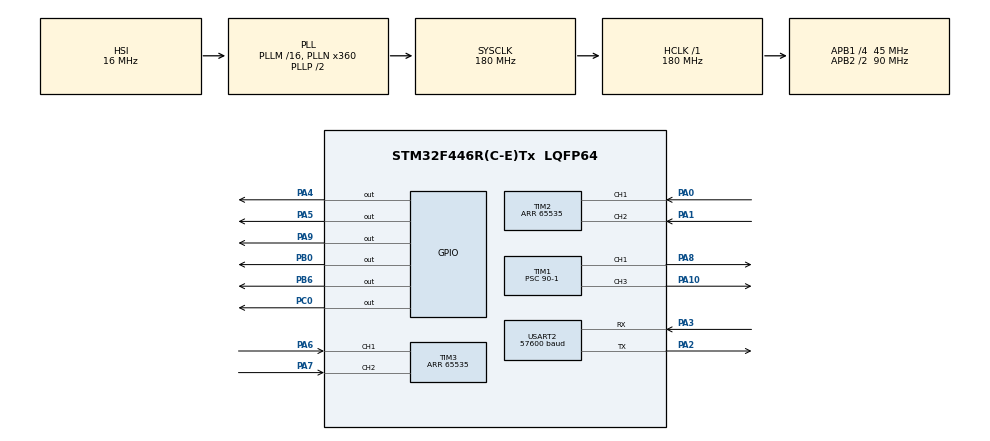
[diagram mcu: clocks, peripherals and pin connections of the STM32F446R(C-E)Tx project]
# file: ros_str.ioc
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Dma.Request0=USART2_RX
Dma.Request1=USART2_TX
Dma.USART2_RX.0.Direction=DMA_PERIPH_TO_MEMORY
Dma.USART2_RX.0.FIFOMode=DMA_FIFOMODE_DISABLE
Dma.USART2_RX.0.Instance=DMA1_Stream5
Dma.USART2_RX.0.MemDataAlignment=DMA_MDATAALIGN_BYTE
Dma.USART2_RX.0.MemInc=DMA_MINC_ENABLE
Dma.USART2_RX.0.Mode=DMA_CIRCULAR
Dma.USART2_RX.0.PeriphDataAlignment=DMA_PDATAALIGN_BYTE
Dma.USART2_RX.0.PeriphInc=DMA_PINC_DISABLE
Dma.USART2_RX.0.Priority=DMA_PRIORITY_HIGH
Dma.USART2_TX.1.Direction=DMA_MEMORY_TO_PERIPH
Dma.USART2_TX.1.FIFOMode=DMA_FIFOMODE_DISABLE
Dma.USART2_TX.1.Instance=DMA1_Stream6
Dma.USART2_TX.1.MemDataAlignment=DMA_MDATAALIGN_BYTE
Dma.USART2_TX.1.MemInc=DMA_MINC_ENABLE
Dma.USART2_TX.1.Mode=DMA_NORMAL
Dma.USART2_TX.1.PeriphDataAlignment=DMA_PDATAALIGN_BYTE
Dma.USART2_TX.1.PeriphInc=DMA_PINC_DISABLE
Dma.USART2_TX.1.Priority=DMA_PRIORITY_HIGH
Mcu.Family=STM32F4
Mcu.Name=STM32F446R(C-E)Tx
Mcu.Package=LQFP64
NVIC.DMA1_Stream5_IRQn=true\:0\:0\:false\:false\:true\:false\:true
NVIC.DMA1_Stream6_IRQn=true\:0\:0\:false\:false\:true\:false\:true
NVIC.PriorityGroup=NVIC_PRIORITYGROUP_4
NVIC.TIM2_IRQn=true\:0\:0\:false\:false\:true\:true\:true
NVIC.TIM3_IRQn=true\:0\:0\:false\:false\:true\:true\:true
NVIC.TIM4_IRQn=true\:0\:0\:false\:false\:true\:true\:true
NVIC.TIM5_IRQn=true\:0\:0\:false\:false\:true\:true\:true
NVIC.USART2_IRQn=true\:0\:0\:false\:false\:true\:true\:true
PA0-WKUP.Signal=S_TIM2_CH1_ETR
PA1.Signal=S_TIM2_CH2
PA10.Signal=S_TIM1_CH3
PA2.Mode=Asynchronous
PA2.Signal=USART2_TX
PA3.Mode=Asynchronous
PA3.Signal=USART2_RX
PA4.Signal=GPIO_Output
PA5.Signal=GPIO_Output
PA6.Signal=S_TIM3_CH1
PA7.Signal=S_TIM3_CH2
PA8.Signal=S_TIM1_CH1
PA9.Signal=GPIO_Output
PB0.Signal=GPIO_Output
PB6.Signal=GPIO_Output
PC0.Signal=GPIO_Output
ProjectManager.HeapSize=0x200
ProjectManager.StackSize=0x400
ProjectManager.TargetToolchain=STM32CubeIDE
RCC.AHBFreq_Value=180000000
RCC.APB1CLKDivider=RCC_HCLK_DIV4
RCC.APB1Freq_Value=45000000
RCC.APB1TimFreq_Value=90000000
RCC.APB2CLKDivider=RCC_HCLK_DIV2
RCC.APB2Freq_Value=90000000
RCC.APB2TimFreq_Value=180000000
RCC.CortexFreq_Value=180000000
RCC.HCLKFreq_Value=180000000
RCC.PLLN=360
RCC.SYSCLKFreq_VALUE=180000000
RCC.SYSCLKSource=RCC_SYSCLKSOURCE_PLLCLK
RCC.USBFreq_Value=180000000
RCC.VCOOutputFreq_Value=360000000
SH.S_TIM1_CH1.0=TIM1_CH1,PWM Generation1 CH1
SH.S_TIM1_CH3.0=TIM1_CH3,PWM Generation3 CH3
SH.S_TIM2_CH1_ETR.0=TIM2_CH1,Encoder_Interface
SH.S_TIM2_CH2.0=TIM2_CH2,Encoder_Interface
SH.S_TIM3_CH1.0=TIM3_CH1,Encoder_Interface
SH.S_TIM3_CH2.0=TIM3_CH2,Encoder_Interface
TIM1.Channel-PWM\ Generation1\ CH1=TIM_CHANNEL_1
TIM1.Channel-PWM\ Generation3\ CH3=TIM_CHANNEL_3
TIM1.Period=1000-1
TIM1.Prescaler=90-1
TIM2.Period=65535
TIM3.Period=65535
TIM4.Period=27-1
TIM4.Prescaler=1000-1
TIM5.Period=27-1
TIM5.Prescaler=100-1
USART2.BaudRate=57600
USART2.VirtualMode=VM_ASYNC
VP_TIM4_VS_ClockSourceINT.Mode=Internal
VP_TIM5_VS_ClockSourceINT.Mode=Internal
board=NUCLEO-F446RE

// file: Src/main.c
/* USER CODE BEGIN Header */
/**
  ******************************************************************************
  * @file           : main.c
  * @brief          : Main program body
  ******************************************************************************
  * @attention
  *
  * <h2><center>&copy; Copyright (c) 2020 STMicroelectronics.
  * All rights reserved.</center></h2>
  *
  * This software component is licensed by ST under BSD 3-Clause license,
  * the "License"; You may not use this file except in compliance with the
  * License. You may obtain a copy of the License at:
  *                        opensource.org/licenses/BSD-3-Clause
  *
  ******************************************************************************
  */
/* USER CODE END Header */

#include "main.h"

/* USER CODE BEGIN PD */
#define enc_per_rot 4096
#define wheel_r 0.05
#define MAX_PWM 1000
#define MAX_DEG 540

/* USER CODE END PD */

TIM_HandleTypeDef htim1;
TIM_HandleTypeDef htim2;
TIM_HandleTypeDef htim3;
TIM_HandleTypeDef htim4;
TIM_HandleTypeDef htim5;

UART_HandleTypeDef huart2;
DMA_HandleTypeDef hdma_usart2_rx;
DMA_HandleTypeDef hdma_usart2_tx;

void SystemClock_Config(void);
static void MX_GPIO_Init(void);
static void MX_DMA_Init(void);
static void MX_USART2_UART_Init(void);
static void MX_TIM1_Init(void);
static void MX_TIM2_Init(void);
static void MX_TIM3_Init(void);
static void MX_TIM5_Init(void);
static void MX_TIM4_Init(void);

/* USER CODE BEGIN 0 */

const double Kp1 = 10.5;
const double Ki1 = 3.0;
const double Kd1 =1.5;
const double dt = 0.0003;
double pre_error1;
double P1,I1,D1;

const double Kp2 = 150;
const double Ki2= 100;
const double Kd2 = 0.7;
double pre_error2;
double P2,I2,D2;

void set_pwm1(int pwm);
void set_pwm2(int pwm);
int pid1(double error);
int pid2(double error);

double enc_yaw; //カウントした値を格納する変数,
int overflowcnt1 = 0;
double enc_wheel,pre_enc_wheel; //カウントした値を格納する変数,
int overflowcnt2 = 0;
double now_vel,now_deg,pre_deg;

extern int pwm_cmd;
extern double cmd_vel,cmd_deg;

void HAL_TIM_PeriodElapsedCallback(TIM_HandleTypeDef* htim)
{
	if(htim->Instance == TIM2){
	                //割り込みフラグクリア，これをしないとこの関数が複数回呼び出される
	        __HAL_TIM_CLEAR_FLAG(&htim2, TIM_IT_UPDATE);
	        if(__HAL_TIM_IS_TIM_COUNTING_DOWN(&htim2)) //0 → 65535
	        {
	            overflowcnt2 --;
	        }
	        else //65535 → 0
	        {
	            overflowcnt2 ++;
	        }
	    }

    if(htim->Instance == TIM3){
                //割り込みフラグクリア，これをしないとこの関数が複数回呼び出される
        __HAL_TIM_CLEAR_FLAG(&htim3, TIM_IT_UPDATE);
        if(__HAL_TIM_IS_TIM_COUNTING_DOWN(&htim3)) //0 → 65535
        {
            overflowcnt1 --;
        }
        else //65535 → 0
        {
            overflowcnt1 ++;
        }
    }
    if(htim->Instance == TIM5){

    	set_pwm1(pid1(now_deg - cmd_deg));

    }
    if(htim->Instance == TIM4){

        	set_pwm2(pid2(now_vel - cmd_vel));

        }
}

/* USER CODE END 0 */

int main(void)
{

  /* MCU Configuration--------------------------------------------------------*/

  /* Reset of all peripherals, Initializes the Flash interface and the Systick. */
  HAL_Init();

  /* Configure the system clock */
  SystemClock_Config();

  /* Initialize all configured peripherals */
  MX_GPIO_Init();
  MX_DMA_Init();
  MX_USART2_UART_Init();
  MX_TIM1_Init();
  MX_TIM2_Init();
  MX_TIM3_Init();
  MX_TIM5_Init();
  MX_TIM4_Init();
  /* USER CODE BEGIN 2 */

  HAL_GPIO_WritePin(GPIOA, GPIO_PIN_4, GPIO_PIN_SET);//SR1
  HAL_GPIO_WritePin(GPIOC, GPIO_PIN_0, GPIO_PIN_SET);//SR2
  HAL_GPIO_WritePin(GPIOB, GPIO_PIN_6, GPIO_PIN_SET);//PWML1
  HAL_GPIO_WritePin(GPIOA, GPIO_PIN_9, GPIO_PIN_SET);//PWML2

  HAL_TIM_Encoder_Start(&htim3,TIM_CHANNEL_ALL);
  HAL_TIM_Base_Start_IT(&htim3);
  HAL_TIM_Encoder_Start(&htim2,TIM_CHANNEL_ALL);
  HAL_TIM_Base_Start_IT(&htim2);
  overflowcnt1 = 0;
  overflowcnt2 = 0;
  setup();

  /* USER CODE END 2 */

  /* Infinite loop */
  /* USER CODE BEGIN WHILE */

  __HAL_TIM_SET_COMPARE(&htim1, TIM_CHANNEL_1, 0);//pwmH1
  HAL_TIM_PWM_Start(&htim1, TIM_CHANNEL_1);
  /*__HAL_TIM_SET_COMPARE(&htim1, TIM_CHANNEL_2, 0);//PWML1
  HAL_TIM_PWM_Start(&htim1, TIM_CHANNEL_2);*/
  __HAL_TIM_SET_COMPARE(&htim1, TIM_CHANNEL_3, 0);//pwmH2
  HAL_TIM_PWM_Start(&htim1, TIM_CHANNEL_3);
  /*__HAL_TIM_SET_COMPARE(&htim4, TIM_CHANNEL_1, 0);//pwmL2
  HAL_TIM_PWM_Start(&htim4, TIM_CHANNEL_1);*/

  HAL_TIM_Base_Start_IT(&htim5);
  HAL_TIM_Base_Start_IT(&htim4);

  char scnt[100];

  while (1)
  {
    /* USER CODE END WHILE */

    /* USER CODE BEGIN 3 */
	  enc_wheel = -((long)(overflowcnt2) * 0x10000 + (long)TIM2 -> CNT);
	  enc_yaw =-( (long)(overflowcnt1) * 0x10000 + (long)TIM3 -> CNT);

	//速度を計算

	  now_vel = (enc_wheel - pre_enc_wheel) * wheel_r * 2 * 3.1415*4/(enc_per_rot*dt*10);//[m/s]
	  pre_enc_wheel = enc_wheel;

	  now_deg = (enc_yaw * 360) / enc_per_rot; //[deg]
	  /*if(now_deg > MAX_DEG || now_deg < -MAX_DEG){
		  now_deg = pre_deg;
	  }
	  pre_deg = now_deg;*/

	          //UARTで値を送信
	      //sprintf(scnt, "%d\r\n", cnt2);
	      //HAL_UART_Transmit( &huart2, scnt, strlen(scnt) + 1, 0xFFFF);

	  loop();
	 /*set_pwm1(500);
	  set_pwm2(500);
	  //set_pwm2(pwm_cmd);
	          //ループ時間調整
	      HAL_Delay( 1000 );

	      set_pwm1(-500);
	      set_pwm2(-500);
	      	  //set_pwm2(500);
	      	  //set_pwm2(pwm_cmd);
	      	          //ループ時間調整
	      	      HAL_Delay( 1000 );*/

	  HAL_Delay(3);

  }
  /* USER CODE END 3 */
}

void SystemClock_Config(void)
{
  RCC_OscInitTypeDef RCC_OscInitStruct = {0};
  RCC_ClkInitTypeDef RCC_ClkInitStruct = {0};

  /** Configure the main internal regulator output voltage
  */
  __HAL_RCC_PWR_CLK_ENABLE();
  __HAL_PWR_VOLTAGESCALING_CONFIG(PWR_REGULATOR_VOLTAGE_SCALE1);
  /** Initializes the CPU, AHB and APB busses clocks
  */
  RCC_OscInitStruct.OscillatorType = RCC_OSCILLATORTYPE_HSI;
  RCC_OscInitStruct.HSIState = RCC_HSI_ON;
  RCC_OscInitStruct.HSICalibrationValue = RCC_HSICALIBRATION_DEFAULT;
  RCC_OscInitStruct.PLL.PLLState = RCC_PLL_ON;
  RCC_OscInitStruct.PLL.PLLSource = RCC_PLLSOURCE_HSI;
  RCC_OscInitStruct.PLL.PLLM = 16;
  RCC_OscInitStruct.PLL.PLLN = 360;
  RCC_OscInitStruct.PLL.PLLP = RCC_PLLP_DIV2;
  RCC_OscInitStruct.PLL.PLLQ = 2;
  RCC_OscInitStruct.PLL.PLLR = 2;
  if (HAL_RCC_OscConfig(&RCC_OscInitStruct) != HAL_OK)
  {
    Error_Handler();
  }
  /** Activate the Over-Drive mode
  */
  if (HAL_PWREx_EnableOverDrive() != HAL_OK)
  {
    Error_Handler();
  }
  /** Initializes the CPU, AHB and APB busses clocks
  */
  RCC_ClkInitStruct.ClockType = RCC_CLOCKTYPE_HCLK|RCC_CLOCKTYPE_SYSCLK
                              |RCC_CLOCKTYPE_PCLK1|RCC_CLOCKTYPE_PCLK2;
  RCC_ClkInitStruct.SYSCLKSource = RCC_SYSCLKSOURCE_PLLCLK;
  RCC_ClkInitStruct.AHBCLKDivider = RCC_SYSCLK_DIV1;
  RCC_ClkInitStruct.APB1CLKDivider = RCC_HCLK_DIV4;
  RCC_ClkInitStruct.APB2CLKDivider = RCC_HCLK_DIV2;

  if (HAL_RCC_ClockConfig(&RCC_ClkInitStruct, FLASH_LATENCY_5) != HAL_OK)
  {
    Error_Handler();
  }
}

static void MX_TIM1_Init(void)
{

  TIM_MasterConfigTypeDef sMasterConfig = {0};
  TIM_OC_InitTypeDef sConfigOC = {0};
  TIM_BreakDeadTimeConfigTypeDef sBreakDeadTimeConfig = {0};

  htim1.Instance = TIM1;
  htim1.Init.Prescaler = 90-1;
  htim1.Init.CounterMode = TIM_COUNTERMODE_UP;
  htim1.Init.Period = 1000-1;
  htim1.Init.ClockDivision = TIM_CLOCKDIVISION_DIV1;
  htim1.Init.RepetitionCounter = 0;
  htim1.Init.AutoReloadPreload = TIM_AUTORELOAD_PRELOAD_DISABLE;
  if (HAL_TIM_PWM_Init(&htim1) != HAL_OK)
  {
    Error_Handler();
  }
  sMasterConfig.MasterOutputTrigger = TIM_TRGO_RESET;
  sMasterConfig.MasterSlaveMode = TIM_MASTERSLAVEMODE_DISABLE;
  if (HAL_TIMEx_MasterConfigSynchronization(&htim1, &sMasterConfig) != HAL_OK)
  {
    Error_Handler();
  }
  sConfigOC.OCMode = TIM_OCMODE_PWM1;
  sConfigOC.Pulse = 0;
  sConfigOC.OCPolarity = TIM_OCPOLARITY_HIGH;
  sConfigOC.OCNPolarity = TIM_OCNPOLARITY_HIGH;
  sConfigOC.OCFastMode = TIM_OCFAST_DISABLE;
  sConfigOC.OCIdleState = TIM_OCIDLESTATE_RESET;
  sConfigOC.OCNIdleState = TIM_OCNIDLESTATE_RESET;
  if (HAL_TIM_PWM_ConfigChannel(&htim1, &sConfigOC, TIM_CHANNEL_1) != HAL_OK)
  {
    Error_Handler();
  }
  if (HAL_TIM_PWM_ConfigChannel(&htim1, &sConfigOC, TIM_CHANNEL_3) != HAL_OK)
  {
    Error_Handler();
  }
  sBreakDeadTimeConfig.OffStateRunMode = TIM_OSSR_DISABLE;
  sBreakDeadTimeConfig.OffStateIDLEMode = TIM_OSSI_DISABLE;
  sBreakDeadTimeConfig.LockLevel = TIM_LOCKLEVEL_OFF;
  sBreakDeadTimeConfig.DeadTime = 0;
  sBreakDeadTimeConfig.BreakState = TIM_BREAK_DISABLE;
  sBreakDeadTimeConfig.BreakPolarity = TIM_BREAKPOLARITY_HIGH;
  sBreakDeadTimeConfig.AutomaticOutput = TIM_AUTOMATICOUTPUT_DISABLE;
  if (HAL_TIMEx_ConfigBreakDeadTime(&htim1, &sBreakDeadTimeConfig) != HAL_OK)
  {
    Error_Handler();
  }
  HAL_TIM_MspPostInit(&htim1);

}

static void MX_TIM2_Init(void)
{

  TIM_Encoder_InitTypeDef sConfig = {0};
  TIM_MasterConfigTypeDef sMasterConfig = {0};

  htim2.Instance = TIM2;
  htim2.Init.Prescaler = 0;
  htim2.Init.CounterMode = TIM_COUNTERMODE_UP;
  htim2.Init.Period = 65535;
  htim2.Init.ClockDivision = TIM_CLOCKDIVISION_DIV1;
  htim2.Init.AutoReloadPreload = TIM_AUTORELOAD_PRELOAD_DISABLE;
  sConfig.EncoderMode = TIM_ENCODERMODE_TI1;
  sConfig.IC1Polarity = TIM_ICPOLARITY_RISING;
  sConfig.IC1Selection = TIM_ICSELECTION_DIRECTTI;
  sConfig.IC1Prescaler = TIM_ICPSC_DIV1;
  sConfig.IC1Filter = 0;
  sConfig.IC2Polarity = TIM_ICPOLARITY_RISING;
  sConfig.IC2Selection = TIM_ICSELECTION_DIRECTTI;
  sConfig.IC2Prescaler = TIM_ICPSC_DIV1;
  sConfig.IC2Filter = 0;
  if (HAL_TIM_Encoder_Init(&htim2, &sConfig) != HAL_OK)
  {
    Error_Handler();
  }
  sMasterConfig.MasterOutputTrigger = TIM_TRGO_RESET;
  sMasterConfig.MasterSlaveMode = TIM_MASTERSLAVEMODE_DISABLE;
  if (HAL_TIMEx_MasterConfigSynchronization(&htim2, &sMasterConfig) != HAL_OK)
  {
    Error_Handler();
  }

}

static void MX_TIM3_Init(void)
{

  TIM_Encoder_InitTypeDef sConfig = {0};
  TIM_MasterConfigTypeDef sMasterConfig = {0};

  htim3.Instance = TIM3;
  htim3.Init.Prescaler = 0;
  htim3.Init.CounterMode = TIM_COUNTERMODE_UP;
  htim3.Init.Period = 65535;
  htim3.Init.ClockDivision = TIM_CLOCKDIVISION_DIV1;
  htim3.Init.AutoReloadPreload = TIM_AUTORELOAD_PRELOAD_DISABLE;
  sConfig.EncoderMode = TIM_ENCODERMODE_TI1;
  sConfig.IC1Polarity = TIM_ICPOLARITY_RISING;
  sConfig.IC1Selection = TIM_ICSELECTION_DIRECTTI;
  sConfig.IC1Prescaler = TIM_ICPSC_DIV1;
  sConfig.IC1Filter = 0;
  sConfig.IC2Polarity = TIM_ICPOLARITY_RISING;
  sConfig.IC2Selection = TIM_ICSELECTION_DIRECTTI;
  sConfig.IC2Prescaler = TIM_ICPSC_DIV1;
  sConfig.IC2Filter = 0;
  if (HAL_TIM_Encoder_Init(&htim3, &sConfig) != HAL_OK)
  {
    Error_Handler();
  }
  sMasterConfig.MasterOutputTrigger = TIM_TRGO_RESET;
  sMasterConfig.MasterSlaveMode = TIM_MASTERSLAVEMODE_DISABLE;
  if (HAL_TIMEx_MasterConfigSynchronization(&htim3, &sMasterConfig) != HAL_OK)
  {
    Error_Handler();
  }

}

static void MX_TIM4_Init(void)
{

  TIM_ClockConfigTypeDef sClockSourceConfig = {0};
  TIM_MasterConfigTypeDef sMasterConfig = {0};

  htim4.Instance = TIM4;
  htim4.Init.Prescaler = 1000-1;
  htim4.Init.CounterMode = TIM_COUNTERMODE_UP;
  htim4.Init.Period = 27-1;
  htim4.Init.ClockDivision = TIM_CLOCKDIVISION_DIV1;
  htim4.Init.AutoReloadPreload = TIM_AUTORELOAD_PRELOAD_DISABLE;
  if (HAL_TIM_Base_Init(&htim4) != HAL_OK)
  {
    Error_Handler();
  }
  sClockSourceConfig.ClockSource = TIM_CLOCKSOURCE_INTERNAL;
  if (HAL_TIM_ConfigClockSource(&htim4, &sClockSourceConfig) != HAL_OK)
  {
    Error_Handler();
  }
  sMasterConfig.MasterOutputTrigger = TIM_TRGO_RESET;
  sMasterConfig.MasterSlaveMode = TIM_MASTERSLAVEMODE_DISABLE;
  if (HAL_TIMEx_MasterConfigSynchronization(&htim4, &sMasterConfig) != HAL_OK)
  {
    Error_Handler();
  }

}

static void MX_TIM5_Init(void)
{

  TIM_ClockConfigTypeDef sClockSourceConfig = {0};
  TIM_MasterConfigTypeDef sMasterConfig = {0};

  htim5.Instance = TIM5;
  htim5.Init.Prescaler = 100-1;
  htim5.Init.CounterMode = TIM_COUNTERMODE_UP;
  htim5.Init.Period = 27-1;
  htim5.Init.ClockDivision = TIM_CLOCKDIVISION_DIV1;
  htim5.Init.AutoReloadPreload = TIM_AUTORELOAD_PRELOAD_DISABLE;
  if (HAL_TIM_Base_Init(&htim5) != HAL_OK)
  {
    Error_Handler();
  }
  sClockSourceConfig.ClockSource = TIM_CLOCKSOURCE_INTERNAL;
  if (HAL_TIM_ConfigClockSource(&htim5, &sClockSourceConfig) != HAL_OK)
  {
    Error_Handler();
  }
  sMasterConfig.MasterOutputTrigger = TIM_TRGO_RESET;
  sMasterConfig.MasterSlaveMode = TIM_MASTERSLAVEMODE_DISABLE;
  if (HAL_TIMEx_MasterConfigSynchronization(&htim5, &sMasterConfig) != HAL_OK)
  {
    Error_Handler();
  }

}

static void MX_USART2_UART_Init(void)
{

  huart2.Instance = USART2;
  huart2.Init.BaudRate = 57600;
  huart2.Init.WordLength = UART_WORDLENGTH_8B;
  huart2.Init.StopBits = UART_STOPBITS_1;
  huart2.Init.Parity = UART_PARITY_NONE;
  huart2.Init.Mode = UART_MODE_TX_RX;
  huart2.Init.HwFlowCtl = UART_HWCONTROL_NONE;
  huart2.Init.OverSampling = UART_OVERSAMPLING_16;
  if (HAL_UART_Init(&huart2) != HAL_OK)
  {
    Error_Handler();
  }

}

static void MX_DMA_Init(void)
{

  /* DMA controller clock enable */
  __HAL_RCC_DMA1_CLK_ENABLE();

  /* DMA interrupt init */
  /* DMA1_Stream5_IRQn interrupt configuration */
  HAL_NVIC_SetPriority(DMA1_Stream5_IRQn, 0, 0);
  HAL_NVIC_EnableIRQ(DMA1_Stream5_IRQn);
  /* DMA1_Stream6_IRQn interrupt configuration */
  HAL_NVIC_SetPriority(DMA1_Stream6_IRQn, 0, 0);
  HAL_NVIC_EnableIRQ(DMA1_Stream6_IRQn);

}

static void MX_GPIO_Init(void)
{
  GPIO_InitTypeDef GPIO_InitStruct = {0};

  /* GPIO Ports Clock Enable */
  __HAL_RCC_GPIOC_CLK_ENABLE();
  __HAL_RCC_GPIOA_CLK_ENABLE();
  __HAL_RCC_GPIOB_CLK_ENABLE();

  /*Configure GPIO pin Output Level */
  HAL_GPIO_WritePin(GPIOC, GPIO_PIN_0, GPIO_PIN_RESET);

  /*Configure GPIO pin Output Level */
  HAL_GPIO_WritePin(GPIOA, GPIO_PIN_4|GPIO_PIN_5|GPIO_PIN_9, GPIO_PIN_RESET);

  /*Configure GPIO pin Output Level */
  HAL_GPIO_WritePin(GPIOB, GPIO_PIN_0|GPIO_PIN_6, GPIO_PIN_RESET);

  /*Configure GPIO pin : PC0 */
  GPIO_InitStruct.Pin = GPIO_PIN_0;
  GPIO_InitStruct.Mode = GPIO_MODE_OUTPUT_PP;
  GPIO_InitStruct.Pull = GPIO_NOPULL;
  GPIO_InitStruct.Speed = GPIO_SPEED_FREQ_LOW;
  HAL_GPIO_Init(GPIOC, &GPIO_InitStruct);

  /*Configure GPIO pins : PA4 PA5 PA9 */
  GPIO_InitStruct.Pin = GPIO_PIN_4|GPIO_PIN_5|GPIO_PIN_9;
  GPIO_InitStruct.Mode = GPIO_MODE_OUTPUT_PP;
  GPIO_InitStruct.Pull = GPIO_NOPULL;
  GPIO_InitStruct.Speed = GPIO_SPEED_FREQ_LOW;
  HAL_GPIO_Init(GPIOA, &GPIO_InitStruct);

  /*Configure GPIO pins : PB0 PB6 */
  GPIO_InitStruct.Pin = GPIO_PIN_0|GPIO_PIN_6;
  GPIO_InitStruct.Mode = GPIO_MODE_OUTPUT_PP;
  GPIO_InitStruct.Pull = GPIO_NOPULL;
  GPIO_InitStruct.Speed = GPIO_SPEED_FREQ_LOW;
  HAL_GPIO_Init(GPIOB, &GPIO_InitStruct);

}

/* USER CODE BEGIN 4 */

void set_pwm1(int pwm){

	if(pwm >= 0){

		HAL_GPIO_WritePin(GPIOA, GPIO_PIN_5, GPIO_PIN_SET);//phase1
		__HAL_TIM_SET_COMPARE(&htim1, TIM_CHANNEL_1, abs(pwm));
		//__HAL_TIM_SET_COMPARE(&htim1, TIM_CHANNEL_2, abs(pwm));

	}else {

		HAL_GPIO_WritePin(GPIOA, GPIO_PIN_5, GPIO_PIN_RESET);//phase1
		__HAL_TIM_SET_COMPARE(&htim1, TIM_CHANNEL_1, abs(pwm));
		//__HAL_TIM_SET_COMPARE(&htim1, TIM_CHANNEL_2, abs(pwm));

	}

}

void set_pwm2(int pwm){

	if(pwm >= 0){

		HAL_GPIO_WritePin(GPIOB, GPIO_PIN_0, GPIO_PIN_SET);//phase1
		__HAL_TIM_SET_COMPARE(&htim1, TIM_CHANNEL_3, abs(pwm));
		//__HAL_TIM_SET_COMPARE(&htim4, TIM_CHANNEL_1, abs(pwm));

	}else {

		HAL_GPIO_WritePin(GPIOB, GPIO_PIN_0, GPIO_PIN_RESET);//phase1
		__HAL_TIM_SET_COMPARE(&htim1, TIM_CHANNEL_3, abs(pwm));
		//__HAL_TIM_SET_COMPARE(&htim4, TIM_CHANNEL_1, abs(pwm));

	}

}

int pid1(double error){

	int out;

	P1 = Kp1 * error;
	I1 += Ki1 * error * dt;
	D1 = Kd1 * (error - pre_error1) / dt;

	out = P1 + I1 + D1;

	pre_error1 = error;

	if(out>MAX_PWM){

		out = MAX_PWM;

	}else if(out<-MAX_PWM){

		out = -MAX_PWM;

	}

	if(now_deg > MAX_DEG || now_deg < -MAX_DEG)out = 0;

	return out;
}

int pid2(double error){

	int out;

	P2 = Kp2 * error;
	I2 += Ki2 * error * dt * 10;
	D2 = Kd2 * (error - pre_error2) / dt;

	out = P2 + I2 + D2;

	pre_error2 = error;

	if(out>MAX_PWM){

			out = MAX_PWM;

		}else if(out<-MAX_PWM){

			out = -MAX_PWM;

		}

	return out;
}

/* USER CODE END 4 */

void Error_Handler(void)
{
}

/************************ (C) COPYRIGHT STMicroelectronics *****END OF FILE****/
